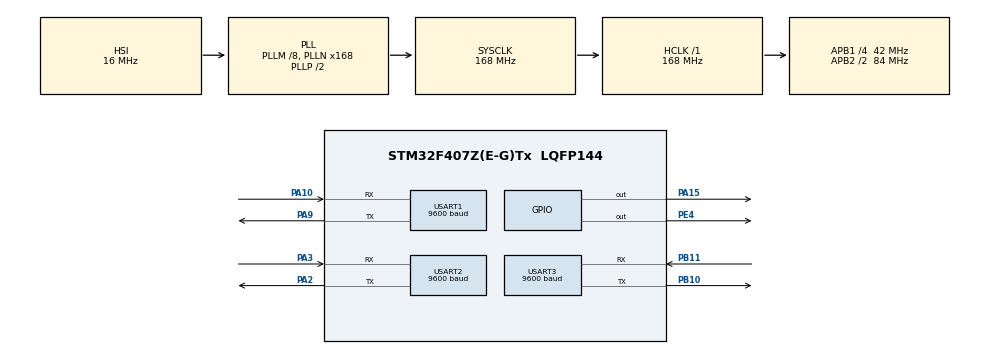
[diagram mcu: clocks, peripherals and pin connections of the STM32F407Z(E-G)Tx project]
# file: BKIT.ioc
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Mcu.Family=STM32F4
Mcu.Name=STM32F407Z(E-G)Tx
Mcu.Package=LQFP144
NVIC.PriorityGroup=NVIC_PRIORITYGROUP_4
NVIC.USART1_IRQn=true\:0\:0\:false\:false\:true\:true\:true\:true
NVIC.USART2_IRQn=true\:0\:0\:false\:false\:true\:true\:true\:true
NVIC.USART3_IRQn=true\:0\:0\:false\:false\:true\:true\:true\:true
PA10.Mode=Asynchronous
PA10.Signal=USART1_RX
PA13.Mode=Serial_Wire
PA13.Signal=SYS_JTMS-SWDIO
PA14.Mode=Serial_Wire
PA14.Signal=SYS_JTCK-SWCLK
PA15.PinState=GPIO_PIN_RESET
PA15.Signal=GPIO_Output
PA2.Mode=Asynchronous
PA2.Signal=USART2_TX
PA3.Mode=Asynchronous
PA3.Signal=USART2_RX
PA9.Mode=Asynchronous
PA9.Signal=USART1_TX
PB10.Mode=Asynchronous
PB10.Signal=USART3_TX
PB11.Mode=Asynchronous
PB11.Signal=USART3_RX
PE4.Signal=GPIO_Output
PH0-OSC_IN.Mode=HSE-External-Oscillator
PH0-OSC_IN.Signal=RCC_OSC_IN
PH1-OSC_OUT.Mode=HSE-External-Oscillator
PH1-OSC_OUT.Signal=RCC_OSC_OUT
ProjectManager.HeapSize=0x200
ProjectManager.StackSize=0x400
ProjectManager.TargetToolchain=STM32CubeIDE
RCC.48MHZClocksFreq_Value=84000000
RCC.AHBFreq_Value=168000000
RCC.APB1CLKDivider=RCC_HCLK_DIV4
RCC.APB1Freq_Value=42000000
RCC.APB1TimFreq_Value=84000000
RCC.APB2CLKDivider=RCC_HCLK_DIV2
RCC.APB2Freq_Value=84000000
RCC.APB2TimFreq_Value=168000000
RCC.CortexFreq_Value=168000000
RCC.HCLKFreq_Value=168000000
RCC.HSE_VALUE=25000000
RCC.HSI_VALUE=16000000
RCC.LSE_VALUE=32768
RCC.PLLM=8
RCC.PLLN=168
RCC.SYSCLKFreq_VALUE=168000000
RCC.SYSCLKSource=RCC_SYSCLKSOURCE_PLLCLK
RCC.VCOOutputFreq_Value=336000000
USART1.BaudRate=9600
USART1.VirtualMode=VM_ASYNC
USART2.BaudRate=9600
USART2.VirtualMode=VM_ASYNC
USART3.BaudRate=9600
USART3.VirtualMode=VM_ASYNC
board=custom

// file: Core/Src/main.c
/* USER CODE BEGIN Header */
/**
  ******************************************************************************
  * @file           : main.c
  * @brief          : Main program body
  ******************************************************************************
  * @attention
  *
  * Copyright (c) 2024 STMicroelectronics.
  * All rights reserved.
  *
  * This software is licensed under terms that can be found in the LICENSE file
  * in the root directory of this software component.
  * If no LICENSE file comes with this software, it is provided AS-IS.
  *
  ******************************************************************************
  */
/* USER CODE END Header */
#include "main.h"

/* USER CODE BEGIN Includes */
#include "modbus.h"
/* USER CODE END Includes */

UART_HandleTypeDef huart1;
UART_HandleTypeDef huart2;
UART_HandleTypeDef huart3;

/* USER CODE BEGIN PV */
uint8_t flagModbus_Receive = 0;
uint8_t flagModbus_Send = 0;
uint8_t dataSend[8];
uint8_t dataReceive[9];
/* USER CODE END PV */

void SystemClock_Config(void);
static void MX_GPIO_Init(void);
static void MX_USART1_UART_Init(void);
static void MX_USART3_UART_Init(void);
static void MX_USART2_UART_Init(void);

int main(void)
{

  /* MCU Configuration--------------------------------------------------------*/

  /* Reset of all peripherals, Initializes the Flash interface and the Systick. */
  HAL_Init();

  /* Configure the system clock */
  SystemClock_Config();

  /* Initialize all configured peripherals */
  MX_GPIO_Init();
  MX_USART1_UART_Init();
  MX_USART3_UART_Init();
  MX_USART2_UART_Init();
  /* USER CODE BEGIN 2 */
  Modbus_Init(0xCA);
  Modbus_Receive(&huart1, dataSend, sizeof(dataSend)/sizeof(dataSend[0]));
  HAL_GPIO_WritePin(GPIOA, GPIO_PIN_15, 1);
  Modbus_Receive(&huart3, dataReceive, sizeof(dataReceive)/sizeof(dataReceive[0]));
  /* USER CODE END 2 */

  /* Infinite loop */
  /* USER CODE BEGIN WHILE */

  uint8_t dataSensor[] = {0x04, 0x01, 0x02, 0xFF, 0x33};
  Modbus_Transmit(&huart1, 0x01, 0x03, dataSensor, (sizeof(dataSensor) / sizeof(dataSensor[0])));
  HAL_GPIO_WritePin(GPIOA, GPIO_PIN_15, 0);
  Modbus_Transmit(&huart3, 0x01, 0x03, dataSensor, (sizeof(dataSensor) / sizeof(dataSensor[0])));
//  HAL_Delay(200);
  HAL_GPIO_WritePin(GPIOA, GPIO_PIN_15, 1);
  while (1)
  {
	  if (flagModbus_Send) {
		  HAL_GPIO_TogglePin(GPIOE, GPIO_PIN_4);
		  uint8_t * dataS = malloc ((sizeof(dataSend) / sizeof(dataSend[0]) - 4) * sizeof(uint8_t));
		  for (int idx = 2; idx < sizeof(dataSend)/sizeof(dataSend[0]) - 2; idx++) {
			  dataS[idx - 2] = dataSend[idx];
		  }
		  Modbus_Transmit(&huart1, dataSend[0], dataSend[1], dataS, (sizeof(dataSend) / sizeof(dataSend[0]) - 4));
		  HAL_GPIO_WritePin(GPIOA, GPIO_PIN_15, 0);
		  Modbus_Transmit(&huart3, dataSend[0], dataSend[1], dataS, (sizeof(dataSend) / sizeof(dataSend[0]) - 4));
		  HAL_GPIO_WritePin(GPIOA, GPIO_PIN_15, 1);
		  free (dataS);
		  flagModbus_Send = 0;
	  }
	  if (flagModbus_Receive) {
		  HAL_GPIO_TogglePin(GPIOE, GPIO_PIN_4);
		  uint8_t * dataR = malloc ((sizeof(dataReceive) / sizeof(dataReceive[0]) - 4) * sizeof(uint8_t));
		  for (int idx = 2; idx < sizeof(dataReceive)/sizeof(dataReceive[0]) - 2; idx++) {
			  dataR[idx - 2] = dataReceive[idx];
		  }
		  Modbus_Transmit(&huart1, dataReceive[0], dataReceive[1], dataR, (sizeof(dataReceive) / sizeof(dataReceive[0]) - 4));
		  HAL_GPIO_WritePin(GPIOA, GPIO_PIN_15, 0);
		  Modbus_Transmit(&huart3, dataReceive[0], dataReceive[1], dataR, (sizeof(dataReceive) / sizeof(dataReceive[0]) - 4));
		  HAL_GPIO_WritePin(GPIOA, GPIO_PIN_15, 1);
		  free (dataR);
		  flagModbus_Receive = 0;
	  }
    /* USER CODE END WHILE */

  }
}

void SystemClock_Config(void)
{
  RCC_OscInitTypeDef RCC_OscInitStruct = {0};
  RCC_ClkInitTypeDef RCC_ClkInitStruct = {0};

  /** Configure the main internal regulator output voltage
  */
  __HAL_RCC_PWR_CLK_ENABLE();
  __HAL_PWR_VOLTAGESCALING_CONFIG(PWR_REGULATOR_VOLTAGE_SCALE1);

  /** Initializes the RCC Oscillators according to the specified parameters
  * in the RCC_OscInitTypeDef structure.
  */
  RCC_OscInitStruct.OscillatorType = RCC_OSCILLATORTYPE_HSI;
  RCC_OscInitStruct.HSIState = RCC_HSI_ON;
  RCC_OscInitStruct.HSICalibrationValue = RCC_HSICALIBRATION_DEFAULT;
  RCC_OscInitStruct.PLL.PLLState = RCC_PLL_ON;
  RCC_OscInitStruct.PLL.PLLSource = RCC_PLLSOURCE_HSI;
  RCC_OscInitStruct.PLL.PLLM = 8;
  RCC_OscInitStruct.PLL.PLLN = 168;
  RCC_OscInitStruct.PLL.PLLP = RCC_PLLP_DIV2;
  RCC_OscInitStruct.PLL.PLLQ = 4;
  if (HAL_RCC_OscConfig(&RCC_OscInitStruct) != HAL_OK)
  {
    Error_Handler();
  }

  /** Initializes the CPU, AHB and APB buses clocks
  */
  RCC_ClkInitStruct.ClockType = RCC_CLOCKTYPE_HCLK|RCC_CLOCKTYPE_SYSCLK
                              |RCC_CLOCKTYPE_PCLK1|RCC_CLOCKTYPE_PCLK2;
  RCC_ClkInitStruct.SYSCLKSource = RCC_SYSCLKSOURCE_PLLCLK;
  RCC_ClkInitStruct.AHBCLKDivider = RCC_SYSCLK_DIV1;
  RCC_ClkInitStruct.APB1CLKDivider = RCC_HCLK_DIV4;
  RCC_ClkInitStruct.APB2CLKDivider = RCC_HCLK_DIV2;

  if (HAL_RCC_ClockConfig(&RCC_ClkInitStruct, FLASH_LATENCY_5) != HAL_OK)
  {
    Error_Handler();
  }
}

static void MX_USART1_UART_Init(void)
{

  huart1.Instance = USART1;
  huart1.Init.BaudRate = 9600;
  huart1.Init.WordLength = UART_WORDLENGTH_8B;
  huart1.Init.StopBits = UART_STOPBITS_1;
  huart1.Init.Parity = UART_PARITY_NONE;
  huart1.Init.Mode = UART_MODE_TX_RX;
  huart1.Init.HwFlowCtl = UART_HWCONTROL_NONE;
  huart1.Init.OverSampling = UART_OVERSAMPLING_16;
  if (HAL_UART_Init(&huart1) != HAL_OK)
  {
    Error_Handler();
  }

}

static void MX_USART2_UART_Init(void)
{

  huart2.Instance = USART2;
  huart2.Init.BaudRate = 9600;
  huart2.Init.WordLength = UART_WORDLENGTH_8B;
  huart2.Init.StopBits = UART_STOPBITS_1;
  huart2.Init.Parity = UART_PARITY_NONE;
  huart2.Init.Mode = UART_MODE_TX_RX;
  huart2.Init.HwFlowCtl = UART_HWCONTROL_NONE;
  huart2.Init.OverSampling = UART_OVERSAMPLING_16;
  if (HAL_UART_Init(&huart2) != HAL_OK)
  {
    Error_Handler();
  }

}

static void MX_USART3_UART_Init(void)
{

  huart3.Instance = USART3;
  huart3.Init.BaudRate = 9600;
  huart3.Init.WordLength = UART_WORDLENGTH_8B;
  huart3.Init.StopBits = UART_STOPBITS_1;
  huart3.Init.Parity = UART_PARITY_NONE;
  huart3.Init.Mode = UART_MODE_TX_RX;
  huart3.Init.HwFlowCtl = UART_HWCONTROL_NONE;
  huart3.Init.OverSampling = UART_OVERSAMPLING_16;
  if (HAL_UART_Init(&huart3) != HAL_OK)
  {
    Error_Handler();
  }

}

static void MX_GPIO_Init(void)
{
  GPIO_InitTypeDef GPIO_InitStruct = {0};

  /* GPIO Ports Clock Enable */
  __HAL_RCC_GPIOE_CLK_ENABLE();
  __HAL_RCC_GPIOH_CLK_ENABLE();
  __HAL_RCC_GPIOA_CLK_ENABLE();
  __HAL_RCC_GPIOB_CLK_ENABLE();

  /*Configure GPIO pin Output Level */
  HAL_GPIO_WritePin(GPIOE, GPIO_PIN_4, GPIO_PIN_RESET);

  /*Configure GPIO pin Output Level */
  HAL_GPIO_WritePin(GPIOA, GPIO_PIN_15, GPIO_PIN_RESET);

  /*Configure GPIO pin : PE4 */
  GPIO_InitStruct.Pin = GPIO_PIN_4;
  GPIO_InitStruct.Mode = GPIO_MODE_OUTPUT_PP;
  GPIO_InitStruct.Pull = GPIO_NOPULL;
  GPIO_InitStruct.Speed = GPIO_SPEED_FREQ_LOW;
  HAL_GPIO_Init(GPIOE, &GPIO_InitStruct);

  /*Configure GPIO pin : PA15 */
  GPIO_InitStruct.Pin = GPIO_PIN_15;
  GPIO_InitStruct.Mode = GPIO_MODE_OUTPUT_PP;
  GPIO_InitStruct.Pull = GPIO_NOPULL;
  GPIO_InitStruct.Speed = GPIO_SPEED_FREQ_LOW;
  HAL_GPIO_Init(GPIOA, &GPIO_InitStruct);

}

/* USER CODE BEGIN 4 */
void HAL_UARTEx_RxEventCallback(UART_HandleTypeDef *huart, uint16_t Size) {
	if (huart->Instance == USART1) {
		flagModbus_Send = 1;
		Modbus_Receive(huart, dataSend, sizeof(dataSend)/sizeof(dataSend[0]));
	} else if (huart->Instance == USART3) {
		flagModbus_Receive = 1;
		Modbus_Receive(huart, dataReceive, sizeof(dataReceive)/sizeof(dataReceive[0]));
	}
}
/* USER CODE END 4 */

void Error_Handler(void)
{
  __disable_irq();
  while (1)
  {
  }
}
